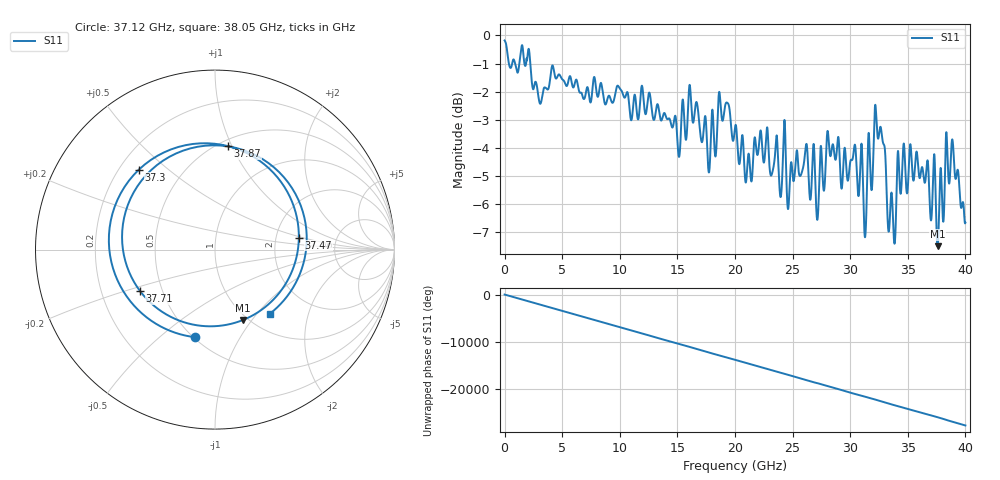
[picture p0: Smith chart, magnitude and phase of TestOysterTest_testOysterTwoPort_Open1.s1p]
! File created by SignalIntegrity v1.1.1: Signal and Power Integrity Tools
! https://github.com/TeledyneLeCroy/SignalIntegrity
# MHz MA S R 50.0
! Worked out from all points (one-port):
!   8000 points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, 5 MHz to 40 GHz, reference 50 ohm
!   lowest |S11| = -7.5 dB at 37.59 GHz (marker M1), VSWR 2.46, Z = 47.4 - j45.3 ohm
!   |S11| at or under -10 dB: nowhere
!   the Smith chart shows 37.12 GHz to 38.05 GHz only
!   S11 on the Smith chart (normalised r, x): 37.12 GHz: 0.51, -0.66; 37.3 GHz: 0.28, +0.40; 37.47 GHz: 2.70, +0.46; 37.71 GHz: 0.37, -0.22; 37.87 GHz: 0.56, +0.96; 38.05 GHz: 1.27, -1.17
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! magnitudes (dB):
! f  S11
! 5 MHz  -0.2
! 3.085 GHz  -2.4
! 5.005 GHz  -1.6
! 10.01 GHz  -1.9
! 15.01 GHz  -3.8
! 16.09 GHz  -1.8
! 17.72 GHz  -4.9
! 18.68 GHz  -2.1
! 20 GHz  -3.3
! 25 GHz  -5.0
! 26.16 GHz  -3.9
! 27.14 GHz  -6.6
! 28.09 GHz  -3.5
! 30 GHz  -4.5
! 31.3 GHz  -7.2
! 32.27 GHz  -2.9
! 33.81 GHz  -7.3
! 34.19 GHz  -4.3
! 35.01 GHz  -5.4
! 37.12 GHz  -6.0
! 37.3 GHz  -4.2
! 37.47 GHz  -6.5
! 37.59 GHz  -7.5
! 37.71 GHz  -6.4
! 37.87 GHz  -4.7
! 38.05 GHz  -6.6
! 38.89 GHz  -3.7
! 40 GHz  -6.7
